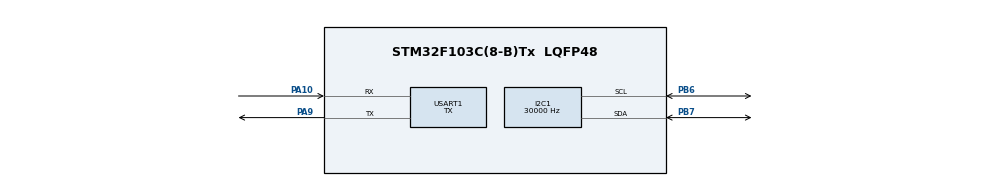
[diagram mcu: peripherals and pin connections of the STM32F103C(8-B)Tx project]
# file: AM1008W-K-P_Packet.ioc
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I2C1.ClockSpeed=30000
Mcu.Family=STM32F1
Mcu.Name=STM32F103C(8-B)Tx
Mcu.Package=LQFP48
NVIC.PriorityGroup=NVIC_PRIORITYGROUP_4
PA10.Mode=Asynchronous
PA10.Signal=USART1_RX
PA13.Mode=Serial_Wire
PA13.Signal=SYS_JTMS-SWDIO
PA14.Mode=Serial_Wire
PA14.Signal=SYS_JTCK-SWCLK
PA9.Mode=Asynchronous
PA9.Signal=USART1_TX
PB6.GPIO_Speed=GPIO_SPEED_FREQ_MEDIUM
PB6.Mode=I2C
PB6.Signal=I2C1_SCL
PB7.GPIO_Speed=GPIO_SPEED_FREQ_MEDIUM
PB7.Mode=I2C
PB7.Signal=I2C1_SDA
ProjectManager.HeapSize=0x200
ProjectManager.StackSize=0x400
ProjectManager.TargetToolchain=STM32CubeIDE
RCC.APB1Freq_Value=8000000
RCC.APB2Freq_Value=8000000
USART1.Mode=MODE_TX
USART1.VirtualMode=VM_ASYNC
board=custom

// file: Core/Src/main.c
/* USER CODE BEGIN Header */
/**
  ******************************************************************************
  * @file           : main.c
  * @brief          : Main program body
  ******************************************************************************
  * @attention
  *
  * Copyright (c) 2024 STMicroelectronics.
  * All rights reserved.
  *
  * This software is licensed under terms that can be found in the LICENSE file
  * in the root directory of this software component.
  * If no LICENSE file comes with this software, it is provided AS-IS.
  *
  ******************************************************************************
  */
/* USER CODE END Header */
#include "main.h"

I2C_HandleTypeDef hi2c1;

UART_HandleTypeDef huart1;

void SystemClock_Config(void);
static void MX_GPIO_Init(void);
static void MX_I2C1_Init(void);
static void MX_USART1_UART_Init(void);

/* USER CODE BEGIN 0 */
typedef struct packet_s
{

  int humidity;               // 4byte
  int temperature;            // 4byte
  uint16_t voc;               // 2byte
  uint16_t co2;               // 2byte
  uint16_t pm1p0;             // 2byte
  uint16_t pm2p5;             // 2byte
  uint16_t pm10;              // 2byte
  uint16_t voc_now_r_ref_r;   // 2byte
  uint16_t voc_ref_r;         // 2byte
  uint16_t voc_now_r;         // 2byte
}Packet_s;  /* 24 byte */

typedef union packet_u
{
  Packet_s ps;
  uint8_t pl[24];
}Packet_u;

Packet_u packet_data;

/* USER CODE END 0 */

int main(void)
{

  /* MCU Configuration--------------------------------------------------------*/

  /* Reset of all peripherals, Initializes the Flash interface and the Systick. */
  HAL_Init();

  /* Configure the system clock */
  SystemClock_Config();

  /* Initialize all configured peripherals */
  MX_GPIO_Init();
  MX_I2C1_Init();
  MX_USART1_UART_Init();
  /* USER CODE BEGIN 2 */
  am1008w_k_i2c_begin(&hi2c1);

  packet_data.ps.humidity = 0;
  packet_data.ps.temperature = 0;
  packet_data.ps.voc = 0;
  packet_data.ps.co2 = 0;
  packet_data.ps.pm1p0 = 0;
  packet_data.ps.pm2p5 = 0;
  packet_data.ps.pm10 = 0;
  packet_data.ps.voc_now_r_ref_r = 0;
  packet_data.ps.voc_ref_r = 0;
  packet_data.ps.voc_now_r = 0;

  /* USER CODE END 2 */

  /* Infinite loop */
  /* USER CODE BEGIN WHILE */

  uint8_t newline[] = "\r\n";

  while (1)
  {

	  am1008w_k_i2c_read_data_command();

	  packet_data.ps.humidity = am1008w_k_i2c_get_humidity();
	  packet_data.ps.temperature = am1008w_k_i2c_get_temperature();
	  packet_data.ps.voc = am1008w_k_i2c_get_voc();
	  packet_data.ps.co2 = am1008w_k_i2c_get_co2();
	  packet_data.ps.pm1p0 = am1008w_k_i2c_get_pm1p0();
	  packet_data.ps.pm2p5 = am1008w_k_i2c_get_pm2p5();
	  packet_data.ps.pm10  = am1008w_k_i2c_get_pm10();
	  packet_data.ps.voc_now_r_ref_r = am1008w_k_i2c_get_voc_now_r_ref_r();
	  packet_data.ps.voc_ref_r = am1008w_k_i2c_get_voc_ref_r();
	  packet_data.ps.voc_now_r = am1008w_k_i2c_get_voc_now_r();

	  HAL_UART_Transmit(&huart1, packet_data.pl, 24, 1000);
	  HAL_UART_Transmit(&huart1, newline, strlen(newline), 1000);

	  HAL_Delay(1000);

    /* USER CODE END WHILE */

  }
}

void SystemClock_Config(void)
{
  RCC_OscInitTypeDef RCC_OscInitStruct = {0};
  RCC_ClkInitTypeDef RCC_ClkInitStruct = {0};

  /** Initializes the RCC Oscillators according to the specified parameters
  * in the RCC_OscInitTypeDef structure.
  */
  RCC_OscInitStruct.OscillatorType = RCC_OSCILLATORTYPE_HSI;
  RCC_OscInitStruct.HSIState = RCC_HSI_ON;
  RCC_OscInitStruct.HSICalibrationValue = RCC_HSICALIBRATION_DEFAULT;
  RCC_OscInitStruct.PLL.PLLState = RCC_PLL_NONE;
  if (HAL_RCC_OscConfig(&RCC_OscInitStruct) != HAL_OK)
  {
    Error_Handler();
  }

  /** Initializes the CPU, AHB and APB buses clocks
  */
  RCC_ClkInitStruct.ClockType = RCC_CLOCKTYPE_HCLK|RCC_CLOCKTYPE_SYSCLK
                              |RCC_CLOCKTYPE_PCLK1|RCC_CLOCKTYPE_PCLK2;
  RCC_ClkInitStruct.SYSCLKSource = RCC_SYSCLKSOURCE_HSI;
  RCC_ClkInitStruct.AHBCLKDivider = RCC_SYSCLK_DIV1;
  RCC_ClkInitStruct.APB1CLKDivider = RCC_HCLK_DIV1;
  RCC_ClkInitStruct.APB2CLKDivider = RCC_HCLK_DIV1;

  if (HAL_RCC_ClockConfig(&RCC_ClkInitStruct, FLASH_LATENCY_0) != HAL_OK)
  {
    Error_Handler();
  }
}

static void MX_I2C1_Init(void)
{

  hi2c1.Instance = I2C1;
  hi2c1.Init.ClockSpeed = 30000;
  hi2c1.Init.DutyCycle = I2C_DUTYCYCLE_2;
  hi2c1.Init.OwnAddress1 = 0;
  hi2c1.Init.AddressingMode = I2C_ADDRESSINGMODE_7BIT;
  hi2c1.Init.DualAddressMode = I2C_DUALADDRESS_DISABLE;
  hi2c1.Init.OwnAddress2 = 0;
  hi2c1.Init.GeneralCallMode = I2C_GENERALCALL_DISABLE;
  hi2c1.Init.NoStretchMode = I2C_NOSTRETCH_DISABLE;
  if (HAL_I2C_Init(&hi2c1) != HAL_OK)
  {
    Error_Handler();
  }

}

static void MX_USART1_UART_Init(void)
{

  huart1.Instance = USART1;
  huart1.Init.BaudRate = 115200;
  huart1.Init.WordLength = UART_WORDLENGTH_8B;
  huart1.Init.StopBits = UART_STOPBITS_1;
  huart1.Init.Parity = UART_PARITY_NONE;
  huart1.Init.Mode = UART_MODE_TX;
  huart1.Init.HwFlowCtl = UART_HWCONTROL_NONE;
  huart1.Init.OverSampling = UART_OVERSAMPLING_16;
  if (HAL_UART_Init(&huart1) != HAL_OK)
  {
    Error_Handler();
  }

}

static void MX_GPIO_Init(void)
{

  /* GPIO Ports Clock Enable */
  __HAL_RCC_GPIOA_CLK_ENABLE();
  __HAL_RCC_GPIOB_CLK_ENABLE();

}

void Error_Handler(void)
{
  __disable_irq();
  while (1)
  {
  }
}
